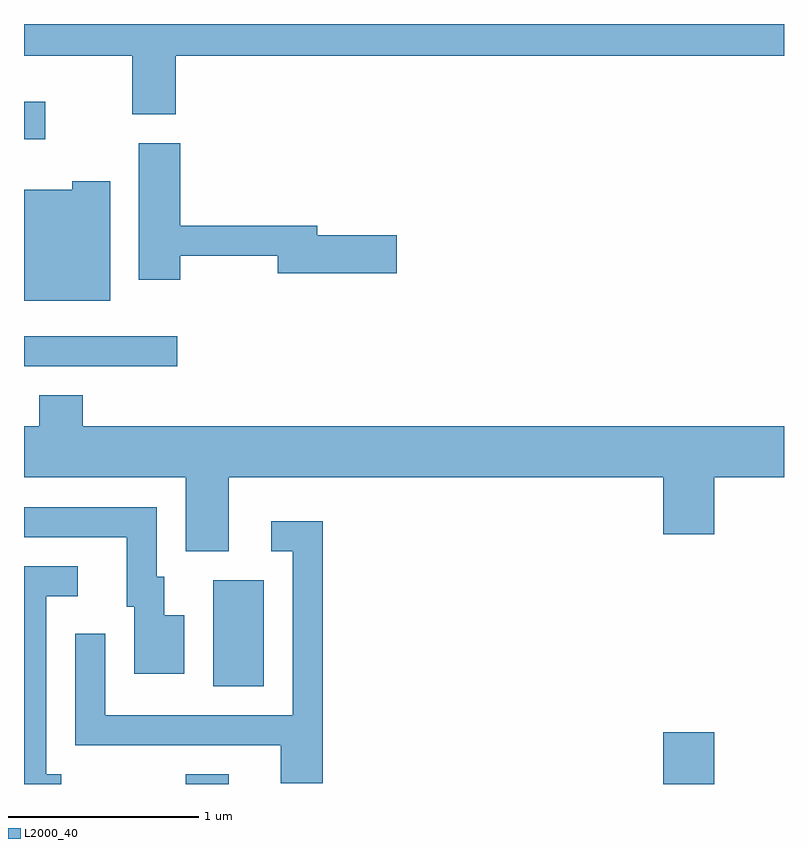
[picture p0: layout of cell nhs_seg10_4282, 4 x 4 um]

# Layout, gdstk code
import gdstk
lib = gdstk.Library(unit=1e-6, precision=1e-09)
def R(c, l, rs):  # rectangles x0, y0, x1, y1
    for r in rs: c.add(gdstk.rectangle(r[:2], r[2:], *l))
def P(c, l, *ps):  # polygons
    for p in ps: c.add(gdstk.Polygon(p, *l))
L2000_40 = (2000, 40)

nhs_seg10_4282 = lib.new_cell('nhs_seg10_4282')
R(nhs_seg10_4282, L2000_40, [(312.461,2114.522,312.689,2114.574), (314.976,2114.522,315.244,2114.794), (312.606,2115.036,312.874,2115.594), (311.611,2116.721,312.418,2116.879), (311.611,2117.916,311.724,2118.114)])
P(nhs_seg10_4282, L2000_40, [(312.409,2118.356),(315.611,2118.356),(315.611,2118.522),(311.611,2118.522),(311.611,2118.356),(312.181,2118.356),(312.181,2118.046),(312.409,2118.046)],
  [(312.434,2117.301),(312.946,2117.301),(312.946,2117.211),(313.574,2117.211),(313.574,2117.409),(313.154,2117.409),(313.154,2117.459),(312.434,2117.459),(312.434,2117.894),(312.216,2117.894),(312.216,2117.176),(312.434,2117.176)],
  [(312.064,2117.694),(311.866,2117.694),(311.866,2117.649),(311.611,2117.649),(311.611,2117.066),(312.064,2117.066)],
  [(312.689,2116.136),(314.976,2116.136),(314.976,2115.836),(315.244,2115.836),(315.244,2116.136),(315.611,2116.136),(315.611,2116.404),(311.919,2116.404),(311.919,2116.569),(311.691,2116.569),(311.691,2116.404),(311.611,2116.404),(311.611,2116.136),(312.461,2116.136),(312.461,2115.746),(312.689,2115.746)],
  [(312.454,2115.409),(312.349,2115.409),(312.349,2115.614),(312.309,2115.614),(312.309,2115.979),(311.611,2115.979),(311.611,2115.821),(312.151,2115.821),(312.151,2115.456),(312.191,2115.456),(312.191,2115.101),(312.454,2115.101)],
  [(313.184,2115.904),(312.913,2115.904),(312.913,2115.746),(313.026,2115.746),(313.026,2114.884),(312.039,2114.884),(312.039,2115.313),(311.881,2115.313),(311.881,2114.726),(312.961,2114.726),(312.961,2114.526),(313.184,2114.526)],
  [(311.808,2114.574),(311.729,2114.574),(311.729,2115.511),(311.893,2115.511),(311.893,2115.669),(311.611,2115.669),(311.611,2114.522),(311.808,2114.522)])

lib.write_gds('nhs_seg10_4282.gds')
